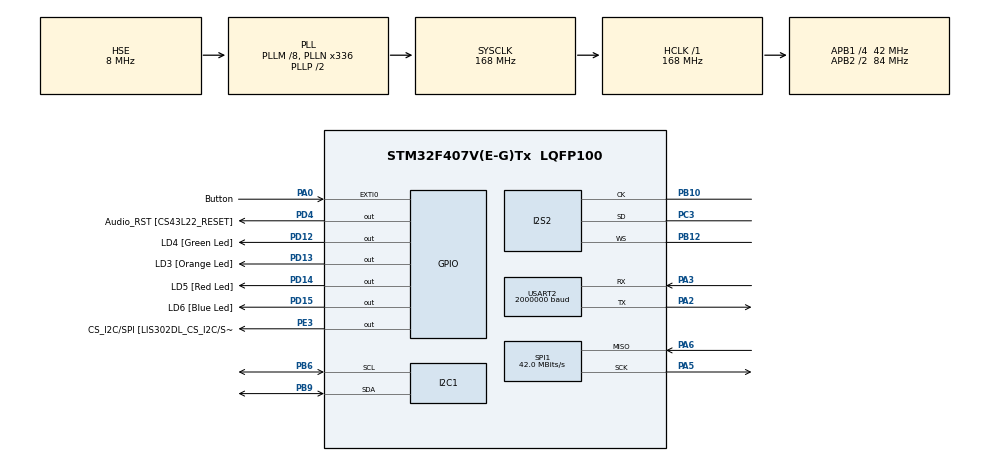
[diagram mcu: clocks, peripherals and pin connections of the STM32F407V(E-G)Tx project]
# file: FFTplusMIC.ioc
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Dma.Request0=SPI2_RX
Dma.SPI2_RX.0.Direction=DMA_PERIPH_TO_MEMORY
Dma.SPI2_RX.0.FIFOMode=DMA_FIFOMODE_DISABLE
Dma.SPI2_RX.0.Instance=DMA1_Stream3
Dma.SPI2_RX.0.MemDataAlignment=DMA_MDATAALIGN_HALFWORD
Dma.SPI2_RX.0.MemInc=DMA_MINC_ENABLE
Dma.SPI2_RX.0.Mode=DMA_CIRCULAR
Dma.SPI2_RX.0.PeriphDataAlignment=DMA_PDATAALIGN_HALFWORD
Dma.SPI2_RX.0.PeriphInc=DMA_PINC_DISABLE
Dma.SPI2_RX.0.Priority=DMA_PRIORITY_LOW
I2S2.AudioFreq=AudioFreqCustomValue
I2S2.AudioFreqCustom=64000
I2S2.ErrorAudioFreq=-0.26 %
I2S2.FullDuplexMode=I2S_FULLDUPLEXMODE_DISABLE
I2S2.Instance=SPI$Index
I2S2.Mode=I2S_MODE_MASTER_RX
I2S2.RealAudioFreq=63.829 KHz
I2S2.VirtualMode=I2S_MODE_MASTER
Mcu.Family=STM32F4
Mcu.Name=STM32F407V(E-G)Tx
Mcu.Package=LQFP100
NVIC.DMA1_Stream3_IRQn=true\:0\:0\:false\:false\:true\:false\:true\:true
NVIC.EXTI0_IRQn=true\:0\:0\:false\:false\:true\:true\:true\:true
NVIC.PriorityGroup=NVIC_PRIORITYGROUP_0
NVIC.SPI2_IRQn=true\:0\:0\:false\:false\:true\:true\:true\:true
NVIC.USART2_IRQn=true\:0\:0\:false\:false\:true\:true\:true\:true
PA0-WKUP.GPIO_Label=Button
PA0-WKUP.Signal=GPXTI0
PA2.Mode=Asynchronous
PA2.Signal=USART2_TX
PA3.Mode=Asynchronous
PA3.Signal=USART2_RX
PA4.Signal=I2S3_WS
PA5.Mode=RX_Only_Simplex_Unidirect_Master
PA5.Signal=SPI1_SCK
PA6.Mode=RX_Only_Simplex_Unidirect_Master
PA6.Signal=SPI1_MISO
PB10.Mode=Half_Duplex_Master
PB10.Signal=I2S2_CK
PB12.Mode=Half_Duplex_Master
PB12.Signal=I2S2_WS
PB3.GPIO_Label=SWO
PB3.Signal=SYS_JTDO-SWO
PB6.Mode=I2C
PB6.Signal=I2C1_SCL
PB9.Mode=I2C
PB9.Signal=I2C1_SDA
PC10.Signal=I2S3_CK
PC12.Signal=I2S3_SD
PC3.Mode=Half_Duplex_Master
PC3.Signal=I2S2_SD
PC7.Signal=I2S3_MCK
PD12.GPIO_Label=LD4 [Green Led]
PD12.GPIO_PuPd=GPIO_NOPULL
PD12.GPIO_Speed=GPIO_SPEED_FREQ_LOW
PD12.Signal=GPIO_Output
PD13.GPIO_Label=LD3 [Orange Led]
PD13.GPIO_PuPd=GPIO_NOPULL
PD13.GPIO_Speed=GPIO_SPEED_FREQ_LOW
PD13.Signal=GPIO_Output
PD14.GPIO_Label=LD5 [Red Led]
PD14.GPIO_PuPd=GPIO_NOPULL
PD14.GPIO_Speed=GPIO_SPEED_FREQ_LOW
PD14.Signal=GPIO_Output
PD15.GPIO_Label=LD6 [Blue Led]
PD15.GPIO_PuPd=GPIO_NOPULL
PD15.GPIO_Speed=GPIO_SPEED_FREQ_LOW
PD15.Signal=GPIO_Output
PD4.GPIO_Label=Audio_RST [CS43L22_RESET]
PD4.GPIO_PuPd=GPIO_NOPULL
PD4.GPIO_Speed=GPIO_SPEED_FREQ_LOW
PD4.Signal=GPIO_Output
PDM2PCM.CHANNEL1_in_ptr_channels=1
PDM2PCM.CHANNEL1_out_ptr_channels=1
PE3.GPIO_Label=CS_I2C/SPI [LIS302DL_CS_I2C/SPI]
PE3.GPIO_PuPd=GPIO_NOPULL
PE3.GPIO_Speed=GPIO_SPEED_FREQ_LOW
PE3.Signal=GPIO_Output
PH0-OSC_IN.GPIO_Label=PH0-OSC_IN
PH0-OSC_IN.Mode=HSE-External-Oscillator
PH0-OSC_IN.Signal=RCC_OSC_IN
PH1-OSC_OUT.GPIO_Label=PH1-OSC_OUT
PH1-OSC_OUT.Mode=HSE-External-Oscillator
PH1-OSC_OUT.Signal=RCC_OSC_OUT
ProjectManager.HeapSize=0x200
ProjectManager.StackSize=0x400
ProjectManager.TargetToolchain=STM32CubeIDE
RCC.48MHZClocksFreq_Value=48000000
RCC.AHBFreq_Value=168000000
RCC.APB1CLKDivider=RCC_HCLK_DIV4
RCC.APB1Freq_Value=42000000
RCC.APB1TimFreq_Value=84000000
RCC.APB2CLKDivider=RCC_HCLK_DIV2
RCC.APB2Freq_Value=84000000
RCC.APB2TimFreq_Value=168000000
RCC.CortexFreq_Value=168000000
RCC.HCLKFreq_Value=168000000
RCC.HSE_VALUE=8000000
RCC.HSI_VALUE=16000000
RCC.LSE_VALUE=32768
RCC.PLLM=8
RCC.PLLN=336
RCC.PLLQ=7
RCC.PLLSourceVirtual=RCC_PLLSOURCE_HSE
RCC.SYSCLKFreq_VALUE=168000000
RCC.SYSCLKSource=RCC_SYSCLKSOURCE_PLLCLK
RCC.VCOOutputFreq_Value=336000000
SPI1.CalculateBaudRate=42.0 MBits/s
SPI1.Direction=SPI_DIRECTION_2LINES_RXONLY
SPI1.Mode=SPI_MODE_MASTER
SPI1.VirtualType=VM_MASTER
USART2.BaudRate=2000000
USART2.VirtualMode=VM_ASYNC
USART2.WordLength=WORDLENGTH_8B
VP_CRC_VS_CRC.Mode=CRC_Activate
VP_PDM2PCM_VS_PDM2PCM.Mode=PDM2PCM_Channel
board=STM32F407G-DISC1

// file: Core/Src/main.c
/* USER CODE BEGIN Header */
/**
  ******************************************************************************
  * @file           : main.c
  * @brief          : Main program body
  ******************************************************************************
  * @attention
  *
  * Copyright (c) 2025 STMicroelectronics.
  * All rights reserved.
  *
  * This software is licensed under terms that can be found in the LICENSE file
  * in the root directory of this software component.
  * If no LICENSE file comes with this software, it is provided AS-IS.
  *
  ******************************************************************************
  */
/* USER CODE END Header */
#include "main.h"
#include "crc.h"
#include "dma.h"
#include "i2c.h"
#include "i2s.h"
#include "pdm2pcm.h"
#include "spi.h"
#include "usart.h"
#include "gpio.h"

/* USER CODE BEGIN Includes */
#include "arm_math.h"
#include <stdint.h>
#include <string.h>
#include <math.h>
#include <stdio.h>
#include "../Components/cs43l22/cs43l22.h"
#include "../STM32F4-Discovery/stm32f4_discovery.h"
#include "filter_config.h"  // Configuración de filtros
/* USER CODE END Includes */

/* USER CODE BEGIN PTD */
enum ERROR{
	CHILL = -20,
	PDM2PCM = -21,
	CODEC = -22,
	I2S_TX = -23,
	I2S_RX = -24,
	CODEC_PLAY = -25,
	OVR = -26,
	UDR = -27,
};

enum SWITCH{
	IDLE = 0,
	FIRST_HALF = 1,
	SECOND_HALF = 2,
};

enum PSD_METHOD{
	WELCH = 0,
	BARTLETT = 1,
	PERIODOGRAM = 2,
};
/* USER CODE END PTD */

/* USER CODE BEGIN PD */

#define PCM_SAMPLING_FREQ       32000U  // Frecuencia de muestreo PCM (Hz)
#define AUDIO_FREQ_PDM_HAL      64000U  // Para I2S2_BCLK ~2.048MHz -> 32kHz PCM con OSR 64
#define CS43L22_ADDRESS         0x94U   // Dirección I2C del CS43L22

// --- Configuración FFT ---
#define FFT_SIZE                1024U

// --- Canales (Según tu IOC para PDM2PCM y necesidad del CODEC) ---
#define PDM_FILTER_OUT_CHANNELS 1U      // El filtro PDM produce MONO
#define CODEC_PCM_OUT_CHANNELS  2U      // La salida al CODEC es ESTÉREO

// --- Parámetros del Filtro PDM (Basados en config. IOC y librería) ---
#define PDM_SAMPLES_PER_PDM_LIB_CALL  16  // Asumiendo PDM1_filter_config.output_samples_number = 16 (mono)
#define PDM_DECIMATION_FACTOR         64  // Asumiendo PDM1_filter_config.decimation_factor = PDM_FILTER_DEC_FACTOR_64

// --- Cálculo de Tamaños de Buffer Basados en FFT_SIZE y Config PDM ---
#define PCM_MONO_SAMPLES_PER_FFT_FRAME   FFT_SIZE // 1024 muestras MONO

#define PDM_BYTES_PER_PROCESS_CALL    (PDM_SAMPLES_PER_PDM_LIB_CALL * (PDM_DECIMATION_FACTOR / 8U)) // 16 * 8 = 128 bytes
#define NUM_PDM_PROCESS_CALLS_PER_FFT_FRAME (PCM_MONO_SAMPLES_PER_FFT_FRAME / PDM_SAMPLES_PER_PDM_LIB_CALL) // 1024 / 16 = 64 llamadas

#define PDM_RAW_INPUT_FFT_FRAME_SIZE_BYTES   (PDM_BYTES_PER_PROCESS_CALL * NUM_PDM_PROCESS_CALLS_PER_FFT_FRAME) // 128 * 64 = 8192 bytes
#define PDM_RAW_INPUT_FFT_FRAME_SIZE_UINT16  (PDM_RAW_INPUT_FFT_FRAME_SIZE_BYTES / 2U) // 4096

// Para el buffer de salida estéreo al CODEC (si el loopback sigue activo)
#define PCM_STEREO_OUTPUT_HALF_BUFFER_SIZE_UINT16  (PCM_MONO_SAMPLES_PER_FFT_FRAME * CODEC_PCM_OUT_CHANNELS) // 1024 * 2 = 2048

// --- UART ---
#define UART_BUFFER_SIZE 256 // Para formatear strings antes de enviar

// --- Para la conversión a dB ---
#define DB_FLOOR -80.0f

// --- Configuraciones de filtros importadas desde filter_config.h ---
// Las configuraciones de filtros ahora están centralizadas en filter_config.h
// para facilitar ajustes sin modificar el código principal

#define EPSILON  1e-9f

// Para Welch con overlap
#define WELCH_NUM_AVERAGES      8
#define WELCH_OVERLAP_PERCENT   50  // Overlap del 50%
#define WELCH_HOP_SIZE         (FFT_SIZE * (100 - WELCH_OVERLAP_PERCENT) / 100)  // 512 muestras
#define CIRCULAR_BUFFER_SIZE   (FFT_SIZE + WELCH_HOP_SIZE)  // 1536 muestras para manejar overlap

// Para Bartlett (sin overlap)
#define BARTLETT_NUM_AVERAGES   8  // Mismo número de promedios que Welch

// Para Periodograma (una sola ventana, sin promediado)
#define PERIODOGRAM_WINDOW_TYPE 1  // 0: Rectangular, 1: Hann, 2: Hamming

// GPIO para cambio de método (usando el botón de usuario en PA0 de la Discovery)
#define METHOD_SWITCH_GPIO_PORT GPIOA
#define METHOD_SWITCH_GPIO_PIN  GPIO_PIN_0

// Selección del método PSD inicial
#define INITIAL_PSD_METHOD      WELCH  // Método inicial al arrancar
/* USER CODE END PD */

/* USER CODE BEGIN PV */
arm_rfft_instance_q15 S_rfft_q15;
arm_rfft_instance_q31 S_rfft_q31;
uint32_t periodogram_cycles = 0;
uint32_t bartlett_cycles = 0;
uint32_t welch_cycles = 0;
uint32_t fft_float_cycles = 0;
uint32_t fft_q15_cycles = 0;
uint32_t fft_q31_cycles = 0;
extern PDM_Filter_Handler_t PDM1_filter_handler;
extern PDM_Filter_Config_t PDM1_filter_config;
q15_t RFFT_Input_Q15[FFT_SIZE];
q15_t RFFT_Output_Q15[FFT_SIZE];
q31_t RFFT_Input_Q31[FFT_SIZE];
q31_t RFFT_Output_Q31[FFT_SIZE];

// Buffers Ping-Pong para la entrada PDM
uint16_t pdm_raw_buffer[2][PDM_RAW_INPUT_FFT_FRAME_SIZE_UINT16];
// Buffer para la salida PCM MONO del filtro PDM
int16_t  pcm_mono_fft_input_buffer[PCM_MONO_SAMPLES_PER_FFT_FRAME];

// Buffer circular para manejar overlap en Welch
int16_t circular_pcm_buffer[CIRCULAR_BUFFER_SIZE];
uint16_t circular_buffer_write_index = 0;
uint16_t samples_in_circular_buffer = 0;

volatile uint8_t pdm_input_buffer_idx = 2; // 0: primera mitad PDM lista, 1: segunda, 2: ninguna

// Buffers y Handles para FFT
float32_t fft_input_f32[FFT_SIZE];
float32_t fft_output_f32[FFT_SIZE];
arm_rfft_fast_instance_f32 fft_instance;

// Buffer para transmisión UART
char uart_tx_buffer[UART_BUFFER_SIZE];

// Ventana Hann (para Welch)
float32_t hann_window[FFT_SIZE];

// Ventanas adicionales para periodograma
float32_t hamming_window[FFT_SIZE];

// Para Welch
float32_t accumulated_psd[FFT_SIZE / 2];
uint32_t welch_frame_count = 0;

// Para Bartlett (variables adicionales)
uint32_t bartlett_frame_count = 0;

// Para Periodograma (buffer para resultados instantáneos)
float32_t periodogram_psd[FFT_SIZE / 2];

// Variables para cambio dinámico de método PSD
volatile enum PSD_METHOD current_psd_method = INITIAL_PSD_METHOD;
volatile uint8_t method_change_flag = 0;
volatile uint32_t button_debounce_time = 0;

// Variables para filtros de procesamiento de señal
#if ENABLE_DC_FILTER
static float32_t dc_filter_prev_input = 0.0f;
static float32_t dc_filter_prev_output = 0.0f;
#endif

#if ENABLE_HPF_FILTER
// Variables para filtro paso alto IIR de segundo orden
static float32_t hpf_x1 = 0.0f, hpf_x2 = 0.0f;  // Entradas previas
static float32_t hpf_y1 = 0.0f, hpf_y2 = 0.0f;  // Salidas previas
static float32_t hpf_b0, hpf_b1, hpf_b2;        // Coeficientes del numerador
static float32_t hpf_a1, hpf_a2;                // Coeficientes del denominador
#endif

#if ENABLE_PREEMPHASIS
static float32_t preemph_prev = 0.0f;
#endif

#if ENABLE_AGC
static float32_t agc_gain = 1.0f;
static float32_t agc_rms_estimate = 1000.0f;
#endif

#if ENABLE_NOTCH_FILTER
// Variables para filtro notch IIR de segundo orden
static float32_t notch_x1 = 0.0f, notch_x2 = 0.0f;  // Entradas previas
static float32_t notch_y1 = 0.0f, notch_y2 = 0.0f;  // Salidas previas
static float32_t notch_b0, notch_b1, notch_b2;      // Coeficientes del numerador
static float32_t notch_a1, notch_a2;                // Coeficientes del denominador
#endif
/* USER CODE END PV */

void SystemClock_Config(void);

/* USER CODE BEGIN 0 */
void init_hann_window(void) {
    for (int i = 0; i < FFT_SIZE; i++) {
        hann_window[i] = 0.5f * (1.0f - arm_cos_f32(2.0f * PI * i / (FFT_SIZE - 1.0f)));
    }
}

void init_hamming_window(void) {
    for (int i = 0; i < FFT_SIZE; i++) {
        hamming_window[i] = 0.54f - 0.46f * arm_cos_f32(2.0f * PI * i / (FFT_SIZE - 1.0f));
    }
}

#if ENABLE_DC_FILTER
// Filtro paso alto de primer orden para eliminar DC
// y = alpha * (y_prev + x - x_prev)
float32_t apply_dc_filter(float32_t input) {
    float32_t output = DC_FILTER_ALPHA * (dc_filter_prev_output + input - dc_filter_prev_input);
    dc_filter_prev_input = input;
    dc_filter_prev_output = output;
    return output;
}

// Resetear el filtro DC cuando cambia el método
void reset_dc_filter(void) {
    dc_filter_prev_input = 0.0f;
    dc_filter_prev_output = 0.0f;
}
#endif

#if ENABLE_HPF_FILTER
// Inicializar filtro paso alto IIR de segundo orden (Butterworth)
void init_hpf_filter(void) {
    float32_t fs = (float32_t)PCM_SAMPLING_FREQ;
    float32_t fc = HPF_CUTOFF_HZ;
    float32_t w = 2.0f * PI * fc / fs;
    float32_t cos_w = arm_cos_f32(w);
    float32_t sin_w = arm_sin_f32(w);

    if (HPF_ORDER == 1) {
        // Filtro paso alto de primer orden
        float32_t RC = 1.0f / (2.0f * PI * fc);
        float32_t dt = 1.0f / fs;
        float32_t alpha = RC / (RC + dt);

        hpf_b0 = alpha;
        hpf_b1 = -alpha;
        hpf_b2 = 0.0f;
        hpf_a1 = -(alpha - 1.0f);
        hpf_a2 = 0.0f;
    } else {
        // Filtro paso alto de segundo orden (Butterworth)
        float32_t Q = 0.707f; // Factor de calidad para Butterworth
        float32_t alpha = sin_w / (2.0f * Q);
        float32_t norm = 1.0f + alpha;

        // Coeficientes para filtro paso alto
        hpf_b0 = (1.0f - cos_w) / (2.0f * norm);  // Para HPF: (1-cos(w))/2
        hpf_b1 = -(1.0f - cos_w) / norm;          // Para HPF: -(1-cos(w))
        hpf_b2 = (1.0f - cos_w) / (2.0f * norm);  // Para HPF: (1-cos(w))/2
        hpf_a1 = -2.0f * cos_w / norm;            // Igual para ambos tipos
        hpf_a2 = (1.0f - alpha) / norm;           // Igual para ambos tipos
    }

    // Resetear estados
    hpf_x1 = hpf_x2 = hpf_y1 = hpf_y2 = 0.0f;
}

float32_t apply_hpf_filter(float32_t input) {
    float32_t output = hpf_b0 * input + hpf_b1 * hpf_x1 + hpf_b2 * hpf_x2
                      - hpf_a1 * hpf_y1 - hpf_a2 * hpf_y2;

    // Actualizar estados
    hpf_x2 = hpf_x1;
    hpf_x1 = input;
    hpf_y2 = hpf_y1;
    hpf_y1 = output;

    return output;
}

void reset_hpf_filter(void) {
    hpf_x1 = hpf_x2 = hpf_y1 = hpf_y2 = 0.0f;
}
#endif

#if ENABLE_PREEMPHASIS
// Pre-énfasis: y[n] = x[n] - α * x[n-1]
float32_t apply_preemphasis(float32_t input) {
    float32_t output = input - PREEMPHASIS_ALPHA * preemph_prev;
    preemph_prev = input;
    return output;
}

void reset_preemphasis(void) {
    preemph_prev = 0.0f;
}
#endif

#if ENABLE_AGC
// Control automático de ganancia
float32_t apply_agc(float32_t input) {
    // Estimar RMS con suavizado exponencial
    float32_t input_squared = input * input;
    agc_rms_estimate = AGC_ALPHA * agc_rms_estimate + (1.0f - AGC_ALPHA) * input_squared;
    float32_t rms = sqrtf(agc_rms_estimate);

    // Calcular ganancia necesaria
    if (rms > 10.0f) {  // Evitar división por cero
        float32_t target_gain = AGC_TARGET_RMS / rms;
        agc_gain = AGC_ALPHA * agc_gain + (1.0f - AGC_ALPHA) * target_gain;

        // Limitar ganancia para evitar amplificación excesiva
        if (agc_gain > 10.0f) agc_gain = 10.0f;
        if (agc_gain < 0.1f) agc_gain = 0.1f;
    }

    return input * agc_gain;
}

void reset_agc(void) {
    agc_gain = 1.0f;
    agc_rms_estimate = 1000.0f;
}
#endif

#if ENABLE_NOTCH_FILTER
// Inicializar filtro notch IIR de segundo orden
void init_notch_filter(void) {
    float32_t fs = (float32_t)PCM_SAMPLING_FREQ;
    float32_t fc = NOTCH_FREQ_HZ;  // Frecuencia del notch
    float32_t Q = NOTCH_Q_FACTOR;  // Factor de calidad

    float32_t w = 2.0f * PI * fc / fs;  // Frecuencia normalizada
    float32_t cos_w = arm_cos_f32(w);
    float32_t sin_w = arm_sin_f32(w);
    float32_t alpha = sin_w / (2.0f * Q);  // Factor de anchura

    // Coeficientes para filtro notch (band-stop) - Implementación correcta
    float32_t norm = 1.0f + alpha;

    // Numerador (ceros en la frecuencia de notch)
    notch_b0 = 1.0f / norm;              // Ganancia DC = 1
    notch_b1 = -2.0f * cos_w / norm;     // Ceros complejos conjugados
    notch_b2 = 1.0f / norm;              // Simetría

    // Denominador (polos cerca pero no en la frecuencia de notch)
    notch_a1 = -2.0f * cos_w / norm;     // Igual que b1 para notch
    notch_a2 = (1.0f - alpha) / norm;    // Controla el ancho de banda

    // Resetear estados
    notch_x1 = notch_x2 = notch_y1 = notch_y2 = 0.0f;
}

float32_t apply_notch_filter(float32_t input) {
    float32_t output = notch_b0 * input + notch_b1 * notch_x1 + notch_b2 * notch_x2
                      - notch_a1 * notch_y1 - notch_a2 * notch_y2;

    // Actualizar estados
    notch_x2 = notch_x1;
    notch_x1 = input;
    notch_y2 = notch_y1;
    notch_y1 = output;

    return output;
}

void reset_notch_filter(void) {
    notch_x1 = notch_x2 = notch_y1 = notch_y2 = 0.0f;
}
#endif

// Función completa de procesamiento de señal
float32_t process_sample(float32_t input) {
    float32_t output = input;

    // 1. Filtro DC - eliminar offset constante (primero)
#if ENABLE_DC_FILTER
    output = apply_dc_filter(output);
#endif

    // 2. Filtro HPF - eliminar bajas frecuencias (segundo)
#if ENABLE_HPF_FILTER
    output = apply_hpf_filter(output);
#endif

    // 3. Filtro Notch - eliminar frecuencias específicas (tercero)
#if ENABLE_NOTCH_FILTER
    output = apply_notch_filter(output);
#endif

    // 4. Pre-énfasis - modificar respuesta en frecuencia (cuarto)
#if ENABLE_PREEMPHASIS
    output = apply_preemphasis(output);
#endif

    // 5. AGC - control de ganancia (siempre al final)
#if ENABLE_AGC
    output = apply_agc(output);
#endif

    return output;
}

// Función para procesar una ventana FFT con overlap (Welch)
void process_welch_window(void) {
    // Extraer una ventana del buffer circular y aplicar procesamiento completo
    for (int i = 0; i < FFT_SIZE; i++) {
        int circular_index = (circular_buffer_write_index - FFT_SIZE + i + CIRCULAR_BUFFER_SIZE) % CIRCULAR_BUFFER_SIZE;
        float32_t sample = (float32_t)circular_pcm_buffer[circular_index];

        // Aplicar todos los filtros de procesamiento
        sample = process_sample(sample);

        fft_input_f32[i] = sample * hann_window[i];
    }

    float32_t current_power_val;
    uint32_t start_fft_time;
	uint32_t end_fft_time;

    // Calcular RFFT
    start_fft_time = DWT->CYCCNT;
    arm_rfft_fast_f32(&fft_instance, fft_input_f32, fft_output_f32, 0);
    end_fft_time = DWT->CYCCNT;
    fft_float_cycles = end_fft_time - start_fft_time;

    // Bin 0 (DC)
    current_power_val = fft_output_f32[0] * fft_output_f32[0];
    accumulated_psd[0] += current_power_val;

    // Bins 1 a (FFT_SIZE / 2) - 1
    for (int k = 1; k < FFT_SIZE / 2; k++) {
        float32_t real_part = fft_output_f32[2*k];
        float32_t imag_part = fft_output_f32[2*k+1];
        current_power_val = (real_part * real_part) + (imag_part * imag_part);
        accumulated_psd[k] += current_power_val;
    }

    welch_frame_count++;
}

// Función para procesar una ventana FFT sin overlap (Bartlett)
void process_bartlett_window(int16_t* pcm_buffer) {
    // Aplicar ventana rectangular y procesamiento completo
    for (int i = 0; i < FFT_SIZE; i++) {
        float32_t sample = (float32_t)pcm_buffer[i];

        // Aplicar todos los filtros de procesamiento
        sample = process_sample(sample);

        fft_input_f32[i] = sample;
    }

    // Calcular RFFT
    arm_rfft_fast_f32(&fft_instance, fft_input_f32, fft_output_f32, 0);

    float32_t current_power_val;

    // Bin 0 (DC)
    current_power_val = fft_output_f32[0] * fft_output_f32[0];
    accumulated_psd[0] += current_power_val;

    // Bins 1 a (FFT_SIZE / 2) - 1
    for (int k = 1; k < FFT_SIZE / 2; k++) {
        float32_t real_part = fft_output_f32[2*k];
        float32_t imag_part = fft_output_f32[2*k+1];
        current_power_val = (real_part * real_part) + (imag_part * imag_part);
        accumulated_psd[k] += current_power_val;
    }

    bartlett_frame_count++;
}

// Función para procesar periodograma con ventana seleccionada
void process_periodogram_window(int16_t* pcm_buffer) {
    // Aplicar la ventana seleccionada y procesamiento completo
    for (int i = 0; i < FFT_SIZE; i++) {
        float32_t sample = (float32_t)pcm_buffer[i];

        // Aplicar todos los filtros de procesamiento
        sample = process_sample(sample);

        // Aplicar ventana seleccionada
        switch(PERIODOGRAM_WINDOW_TYPE) {
            case 0: // Ventana rectangular (sin ventana)
                fft_input_f32[i] = sample;
                break;
            case 1: // Ventana Hann
                fft_input_f32[i] = sample * hann_window[i];
                break;
            case 2: // Ventana Hamming
                fft_input_f32[i] = sample * hamming_window[i];
                break;
            default: // Por defecto usar rectangular
                fft_input_f32[i] = sample;
                break;
        }
    }

    // Calcular RFFT
    arm_rfft_fast_f32(&fft_instance, fft_input_f32, fft_output_f32, 0);

    float32_t current_power_val;

    // Bin 0 (DC)
    current_power_val = fft_output_f32[0] * fft_output_f32[0];
    periodogram_psd[0] = current_power_val;

    // Bins 1 a (FFT_SIZE / 2) - 1
    for (int k = 1; k < FFT_SIZE / 2; k++) {
        float32_t real_part = fft_output_f32[2*k];
        float32_t imag_part = fft_output_f32[2*k+1];
        current_power_val = (real_part * real_part) + (imag_part * imag_part);
        periodogram_psd[k] = current_power_val;
    }
}

// Función para agregar nuevas muestras al buffer circular
void add_samples_to_circular_buffer(int16_t* new_samples, uint16_t num_samples) {
    for (uint16_t i = 0; i < num_samples; i++) {
        circular_pcm_buffer[circular_buffer_write_index] = new_samples[i];
        circular_buffer_write_index = (circular_buffer_write_index + 1) % CIRCULAR_BUFFER_SIZE;

        if (samples_in_circular_buffer < CIRCULAR_BUFFER_SIZE) {
            samples_in_circular_buffer++;
        }
    }
}

// Función común para enviar resultados de PSD
void send_psd_results(uint32_t num_averages) {
    int uart_len = 0;
    float32_t avg_power, db_val;

    // Enviar SOF
    uart_len = sprintf(uart_tx_buffer, "SOF\r\n");
    HAL_UART_Transmit(&huart2, (uint8_t*)uart_tx_buffer, uart_len, HAL_MAX_DELAY);
    uart_len = 0;

    for (int k = 0; k < FFT_SIZE / 2; k++) {
        avg_power = accumulated_psd[k] / num_averages;

        if (avg_power < EPSILON) {
            db_val = DB_FLOOR;
        } else {
            db_val = 10.0f * log10f(avg_power);
            if (db_val < DB_FLOOR) {
                db_val = DB_FLOOR;
            }
        }
        uart_len += sprintf(uart_tx_buffer + uart_len, "%.2f\r\n", db_val);

        if (uart_len > (UART_BUFFER_SIZE - 20) || k == (FFT_SIZE / 2) - 1) {
            if (uart_len > 0) {
                HAL_UART_Transmit(&huart2, (uint8_t*)uart_tx_buffer, uart_len, HAL_MAX_DELAY);
                uart_len = 0;
            }
        }
    }
    if (uart_len > 0) { // Enviar cualquier remanente
        HAL_UART_Transmit(&huart2, (uint8_t*)uart_tx_buffer, uart_len, HAL_MAX_DELAY);
    }

    // Resetear acumuladores
    memset(accumulated_psd, 0, sizeof(accumulated_psd));
}

// Función específica para enviar resultados del periodograma (sin promediado)
void send_periodogram_results(void) {
    int uart_len = 0;
    float32_t db_val;

    // Enviar SOF
    uart_len = sprintf(uart_tx_buffer, "SOF\r\n");
    HAL_UART_Transmit(&huart2, (uint8_t*)uart_tx_buffer, uart_len, HAL_MAX_DELAY);
    uart_len = 0;

    for (int k = 0; k < FFT_SIZE / 2; k++) {
        if (periodogram_psd[k] < EPSILON) {
            db_val = DB_FLOOR;
        } else {
            db_val = 10.0f * log10f(periodogram_psd[k]);
            if (db_val < DB_FLOOR) {
                db_val = DB_FLOOR;
            }
        }
        uart_len += sprintf(uart_tx_buffer + uart_len, "%.2f\r\n", db_val);

        if (uart_len > (UART_BUFFER_SIZE - 20) || k == (FFT_SIZE / 2) - 1) {
            if (uart_len > 0) {
                HAL_UART_Transmit(&huart2, (uint8_t*)uart_tx_buffer, uart_len, HAL_MAX_DELAY);
                uart_len = 0;
            }
        }
    }
    if (uart_len > 0) { // Enviar cualquier remanente
        HAL_UART_Transmit(&huart2, (uint8_t*)uart_tx_buffer, uart_len, HAL_MAX_DELAY);
    }
}

// Función para alternar entre métodos PSD
void toggle_psd_method(void) {
    current_psd_method = (current_psd_method + 1) % 3; // Ciclar entre 0, 1, 2
    method_change_flag = 1;
}

// Función para resetear variables según el método actual
void reset_psd_variables(void) {
    // Limpiar acumuladores comunes
    memset(accumulated_psd, 0, sizeof(accumulated_psd));
    memset(periodogram_psd, 0, sizeof(periodogram_psd));

    // Resetear todos los filtros de procesamiento
#if ENABLE_DC_FILTER
    reset_dc_filter();
#endif

#if ENABLE_HPF_FILTER
    reset_hpf_filter();
#endif

#if ENABLE_PREEMPHASIS
    reset_preemphasis();
#endif

#if ENABLE_AGC
    reset_agc();
#endif

#if ENABLE_NOTCH_FILTER
    reset_notch_filter();
#endif

    // Resetear variables específicas según el método
    switch(current_psd_method) {
        case WELCH:
            memset(circular_pcm_buffer, 0, sizeof(circular_pcm_buffer));
            welch_frame_count = 0;
            circular_buffer_write_index = 0;
            samples_in_circular_buffer = 0;
            break;

        case BARTLETT:
            bartlett_frame_count = 0;
            break;

        case PERIODOGRAM:
            // No necesita reseteo especial
            break;
    }

    // Enviar notificación del cambio de método por UART
    const char* method_names[] = {"WELCH", "BARTLETT", "PERIODOGRAM"};
    int uart_len = sprintf(uart_tx_buffer, "METHOD_CHANGED:%s\r\n", method_names[current_psd_method]);
    HAL_UART_Transmit(&huart2, (uint8_t*)uart_tx_buffer, uart_len, HAL_MAX_DELAY);
}
/* USER CODE END 0 */

int main(void)
{

  /* USER CODE BEGIN 1 */
	  uint16_t pdm_buffer_offset_uint16 = 0;
	  uint16_t pcm_mono_buffer_offset = 0;

  /* USER CODE END 1 */

  /* MCU Configuration--------------------------------------------------------*/

  /* Reset of all peripherals, Initializes the Flash interface and the Systick. */
  HAL_Init();

  /* Configure the system clock */
  SystemClock_Config();

  /* Initialize all configured peripherals */
  MX_GPIO_Init();
  MX_DMA_Init();
  MX_I2S2_Init();
  MX_CRC_Init();
  MX_PDM2PCM_Init();
  MX_USART2_UART_Init();
  MX_SPI1_Init();
  MX_I2C1_Init();
  /* USER CODE BEGIN 2 */
  // Enable DWT_CYCCNT for cycle counting
    CoreDebug->DEMCR |= CoreDebug_DEMCR_TRCENA_Msk; // Enable Trace Exception (TRCENA) bit in DEMCR register
    DWT->CYCCNT = 0;                                // Reset the cycle counter
    DWT->CTRL |= DWT_CTRL_CYCCNTENA_Msk;            // Enable the cycle counter (CYCCNTENA) bit in DWT_CTRL register
    arm_rfft_init_q15(&S_rfft_q15, FFT_SIZE, 0, 1);
    arm_rfft_init_q31(&S_rfft_q31, FFT_SIZE, 0, 1);
  	init_hann_window();
  	init_hamming_window();

    // Inicializar FFT
    if (arm_rfft_fast_init_f32(&fft_instance, FFT_SIZE) != ARM_MATH_SUCCESS) {
        Error_Handler();
    }

    // Inicializar filtros de procesamiento
    int uart_len = 0;
#if ENABLE_HPF_FILTER
    init_hpf_filter();
    uart_len = sprintf(uart_tx_buffer, "HPF inicializado: fc=%.1f Hz, orden=%d\r\n", HPF_CUTOFF_HZ, HPF_ORDER);
    HAL_UART_Transmit(&huart2, (uint8_t*)uart_tx_buffer, uart_len, HAL_MAX_DELAY);
#endif

#if ENABLE_NOTCH_FILTER
    init_notch_filter();
    uart_len = sprintf(uart_tx_buffer, "Filtro Notch inicializado: fc=%.1f Hz, Q=%.1f\r\n", NOTCH_FREQ_HZ, NOTCH_Q_FACTOR);
    HAL_UART_Transmit(&huart2, (uint8_t*)uart_tx_buffer, uart_len, HAL_MAX_DELAY);
#endif

    // Inicializar variables comunes
    memset(accumulated_psd, 0, sizeof(accumulated_psd));
    memset(periodogram_psd, 0, sizeof(periodogram_psd));

    // Inicializar según el método seleccionado
    switch(current_psd_method) {
        case WELCH:
            memset(circular_pcm_buffer, 0, sizeof(circular_pcm_buffer));
            welch_frame_count = 0;
            circular_buffer_write_index = 0;
            samples_in_circular_buffer = 0;
            break;

        case BARTLETT:
            bartlett_frame_count = 0;
            break;

        case PERIODOGRAM:
            // No necesita inicialización especial
            break;
    }

    // Iniciar DMA I2S2 para PDM
    if (HAL_I2S_Receive_DMA(&hi2s2, (uint16_t *)pdm_raw_buffer, PDM_RAW_INPUT_FFT_FRAME_SIZE_UINT16 * 2) != HAL_OK) {
      Error_Handler();
    }
    pdm_input_buffer_idx = 2; // Ningún buffer PDM listo

    // Enviar mensaje inicial del método activo
    const char* method_names[] = {"WELCH", "BARTLETT", "PERIODOGRAM"};
    uart_len = sprintf(uart_tx_buffer, "INITIAL_METHOD:%s\r\n", method_names[current_psd_method]);
    HAL_UART_Transmit(&huart2, (uint8_t*)uart_tx_buffer, uart_len, HAL_MAX_DELAY);

  /* USER CODE END 2 */

  /* Infinite loop */
  /* USER CODE BEGIN WHILE */
  while (1)
  {
      uint32_t start_cycles, end_cycles;
	  // Verificar si se ha solicitado un cambio de método
	  if (method_change_flag) {
		  method_change_flag = 0;
		  reset_psd_variables();
	  }

	  if (pdm_input_buffer_idx != 2) { // Un buffer PDM (un frame FFT) está listo
	        uint16_t* current_pdm_input_half_ptr;

	        if (pdm_input_buffer_idx == 0) {
	          current_pdm_input_half_ptr = pdm_raw_buffer[0];
	        } else { // pdm_input_buffer_idx == 1
	          current_pdm_input_half_ptr = pdm_raw_buffer[1];
	        }

	        //  Convertir el frame PDM completo a PCM MONO en pcm_mono_fft_input_buffer
	        pdm_buffer_offset_uint16 = 0;
	        pcm_mono_buffer_offset = 0;
	        for (int i = 0; i < NUM_PDM_PROCESS_CALLS_PER_FFT_FRAME; i++) {
	          if (MX_PDM2PCM_Process(
	                  current_pdm_input_half_ptr + pdm_buffer_offset_uint16,
	                  (uint16_t*)(pcm_mono_fft_input_buffer + pcm_mono_buffer_offset)
	               ) != 0) {
	          }
	          pdm_buffer_offset_uint16 += (PDM_BYTES_PER_PROCESS_CALL / 2U);
	          pcm_mono_buffer_offset += PDM_SAMPLES_PER_PDM_LIB_CALL;
	        }

	        // Procesar según el método seleccionado dinámicamente
	        switch(current_psd_method) {
	            case WELCH: {
                    if (welch_frame_count == 0) {
                        start_cycles = DWT->CYCCNT;
                    }
	                // Agregar las nuevas muestras al buffer circular
	                add_samples_to_circular_buffer(pcm_mono_fft_input_buffer, PCM_MONO_SAMPLES_PER_FFT_FRAME);

	                // Procesar ventanas con overlap si tenemos suficientes muestras
	                if (samples_in_circular_buffer >= FFT_SIZE) {
	                    // Verificar si podemos procesar una nueva ventana (hop_size muestras desde la última)
	                    static uint16_t samples_since_last_window = 0;
	                    samples_since_last_window += PCM_MONO_SAMPLES_PER_FFT_FRAME;

	                    if (samples_since_last_window >= WELCH_HOP_SIZE) {
	                        process_welch_window();
	                        samples_since_last_window -= WELCH_HOP_SIZE;

	                        // Enviar resultados cuando tengamos suficientes promedios
	                        if (welch_frame_count >= WELCH_NUM_AVERAGES) {
	                            send_psd_results(WELCH_NUM_AVERAGES);
	                            welch_frame_count = 0;
                                end_cycles = DWT->CYCCNT;
                                welch_cycles = end_cycles - start_cycles;
	                        }
	                    }
	                }
	                break;
	            }

	            case BARTLETT: {
                    if (bartlett_frame_count == 0) { // Assuming bartlett_frame_count is reset to 0 after sending
                        start_cycles = DWT->CYCCNT;
                    }
	                // Procesar directamente la ventana completa (sin overlap)
	                process_bartlett_window(pcm_mono_fft_input_buffer);

	                // Enviar resultados cuando tengamos suficientes promedios
	                if (bartlett_frame_count >= BARTLETT_NUM_AVERAGES) {
	                    send_psd_results(BARTLETT_NUM_AVERAGES);
	                    bartlett_frame_count = 0;
                        end_cycles = DWT->CYCCNT;
                        bartlett_cycles = end_cycles - start_cycles;
	                }
	                break;
	            }

	            case PERIODOGRAM: {
                    start_cycles = DWT->CYCCNT;
	                // Procesar directamente la ventana con la ventana seleccionada
	                process_periodogram_window(pcm_mono_fft_input_buffer);
	                // Enviar resultados inmediatamente (sin promediado)
	                send_periodogram_results();
                    end_cycles = DWT->CYCCNT;
                    periodogram_cycles = end_cycles - start_cycles;

	                break;
	            }

	            default:
	                // No hacer nada si el método no es válido
	                break;
	        }

	        pdm_input_buffer_idx = 2;
	  } else{
		  HAL_Delay(1);
	  }

    /* USER CODE END WHILE */

  }
}

void SystemClock_Config(void)
{
  RCC_OscInitTypeDef RCC_OscInitStruct = {0};
  RCC_ClkInitTypeDef RCC_ClkInitStruct = {0};

  /** Configure the main internal regulator output voltage
  */
  __HAL_RCC_PWR_CLK_ENABLE();
  __HAL_PWR_VOLTAGESCALING_CONFIG(PWR_REGULATOR_VOLTAGE_SCALE1);

  /** Initializes the RCC Oscillators according to the specified parameters
  * in the RCC_OscInitTypeDef structure.
  */
  RCC_OscInitStruct.OscillatorType = RCC_OSCILLATORTYPE_HSE;
  RCC_OscInitStruct.HSEState = RCC_HSE_ON;
  RCC_OscInitStruct.PLL.PLLState = RCC_PLL_ON;
  RCC_OscInitStruct.PLL.PLLSource = RCC_PLLSOURCE_HSE;
  RCC_OscInitStruct.PLL.PLLM = 8;
  RCC_OscInitStruct.PLL.PLLN = 336;
  RCC_OscInitStruct.PLL.PLLP = RCC_PLLP_DIV2;
  RCC_OscInitStruct.PLL.PLLQ = 7;
  if (HAL_RCC_OscConfig(&RCC_OscInitStruct) != HAL_OK)
  {
    Error_Handler();
  }

  /** Initializes the CPU, AHB and APB buses clocks
  */
  RCC_ClkInitStruct.ClockType = RCC_CLOCKTYPE_HCLK|RCC_CLOCKTYPE_SYSCLK
                              |RCC_CLOCKTYPE_PCLK1|RCC_CLOCKTYPE_PCLK2;
  RCC_ClkInitStruct.SYSCLKSource = RCC_SYSCLKSOURCE_PLLCLK;
  RCC_ClkInitStruct.AHBCLKDivider = RCC_SYSCLK_DIV1;
  RCC_ClkInitStruct.APB1CLKDivider = RCC_HCLK_DIV4;
  RCC_ClkInitStruct.APB2CLKDivider = RCC_HCLK_DIV2;

  if (HAL_RCC_ClockConfig(&RCC_ClkInitStruct, FLASH_LATENCY_5) != HAL_OK)
  {
    Error_Handler();
  }
}

/* USER CODE BEGIN 4 */
void HAL_I2S_RxHalfCpltCallback(I2S_HandleTypeDef *hi2s)
{
  if (hi2s->Instance == SPI2) {
    pdm_input_buffer_idx = 0;
  }
}

void HAL_I2S_RxCpltCallback(I2S_HandleTypeDef *hi2s)
{
  if (hi2s->Instance == SPI2) {
    pdm_input_buffer_idx = 1;
  }
}

// Callback de interrupción GPIO para cambio de método PSD
void HAL_GPIO_EXTI_Callback(uint16_t GPIO_Pin)
{
  uint32_t current_time = HAL_GetTick();

  // Debounce del botón (evitar múltiples activaciones)
  if (GPIO_Pin == METHOD_SWITCH_GPIO_PIN &&
      (current_time - button_debounce_time) > 200) { // 200ms de debounce

    button_debounce_time = current_time;
    toggle_psd_method();
  }
}

void HAL_UART_TxCpltCallback(UART_HandleTypeDef *huart)
{
  // Callback para transmisión UART completa (si es necesario)
}
/* USER CODE END 4 */

void Error_Handler(void)
{
  __disable_irq();
  while (1)
  {
  }
}
